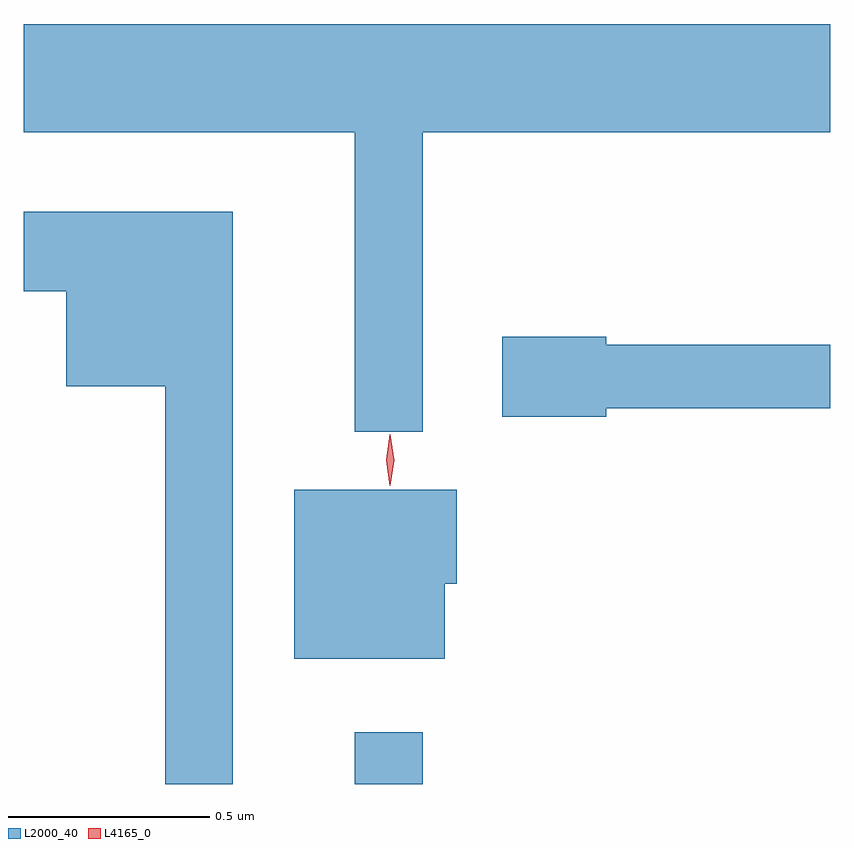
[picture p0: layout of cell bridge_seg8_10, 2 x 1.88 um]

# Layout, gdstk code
import gdstk
lib = gdstk.Library(unit=1e-6, precision=1e-09)
def R(c, l, rs):  # rectangles x0, y0, x1, y1
    for r in rs: c.add(gdstk.rectangle(r[:2], r[2:], *l))
def P(c, l, *ps):  # polygons
    for p in ps: c.add(gdstk.Polygon(p, *l))
L2000_40 = (2000, 40)
L4165_0 = (4165, 0)

bridge_seg8_10 = lib.new_cell('bridge_seg8_10')
R(bridge_seg8_10, L2000_40, [(1676.031,1903.62,1676.199,1903.748)])
P(bridge_seg8_10, L2000_40, [(1676.199,1905.236),(1677.21,1905.236),(1677.21,1905.504),(1675.21,1905.504),(1675.21,1905.236),(1676.031,1905.236),(1676.031,1904.493),(1676.199,1904.493)],
  [(1675.729,1905.039),(1675.21,1905.039),(1675.21,1904.841),(1675.316,1904.841),(1675.316,1904.606),(1675.561,1904.606),(1675.561,1903.62),(1675.729,1903.62)],
  [(1676.654,1904.551),(1677.21,1904.551),(1677.21,1904.709),(1676.654,1904.709),(1676.654,1904.729),(1676.396,1904.729),(1676.396,1904.531),(1676.654,1904.531)],
  [(1676.254,1904.116),(1676.284,1904.116),(1676.284,1904.349),(1675.881,1904.349),(1675.881,1903.931),(1676.254,1903.931)])
P(bridge_seg8_10, L4165_0, [(1676.118,1904.359),(1676.109,1904.423),(1676.118,1904.487),(1676.119,1904.487),(1676.119,1904.487),(1676.129,1904.423),(1676.119,1904.359),(1676.119,1904.359)])

lib.write_gds('bridge_seg8_10.gds')
